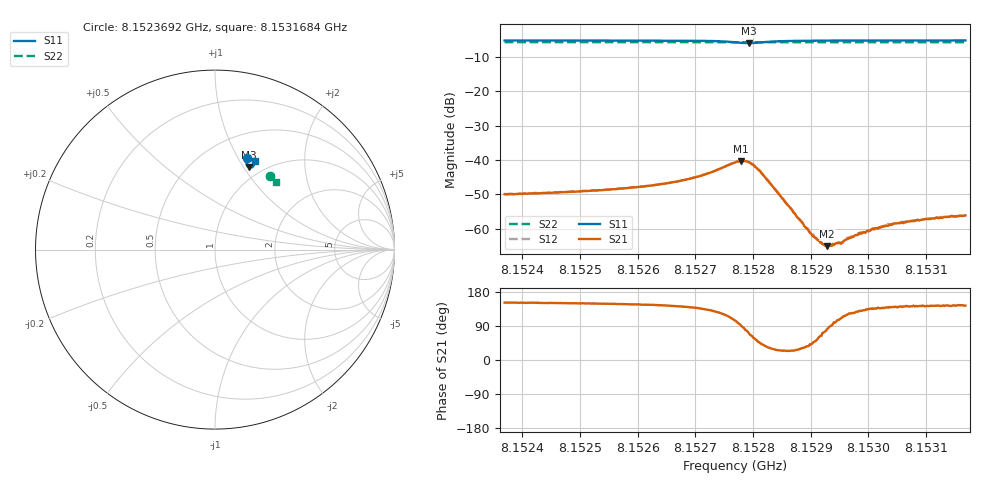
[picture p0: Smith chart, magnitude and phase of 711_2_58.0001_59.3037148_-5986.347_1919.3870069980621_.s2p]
#  HZ  S  RI  R  50.00
! Rohde & Schwarz Vector Network Analyzer
! Rohde-Schwarz,ZNB20-2Port,1311601062101988,3.16
! Created: UTC 3/21/2024, 1:22:11 AM
! freq[Hz]  re:S11  im:S11  re:S21  im:S21  re:S12  im:S12  re:S22  im:S22
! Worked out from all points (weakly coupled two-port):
!   401 points, 8.1523692 GHz to 8.1531684 GHz, reference 50 ohm
!   highest |S21| = -40.25 dB at 8.1527788 GHz (marker M1); lowest = -65.0 dB at 8.1529287 GHz (marker M2)
!   lowest |S11| = -6.1 dB at 8.1527928 GHz (marker M3), VSWR 2.96, Z = 43.3 + j52.6 ohm
!   |S11| at or under -10 dB: nowhere
!   |S22| runs from -5.9 to -5.8 dB; largest |S21 - S12| = 0.00022
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8.15236917e9  0.1808 0.5093  -0.00281 0.00152  -0.00282 0.00157  0.3041 0.411
8.15250305e9  0.1912 0.5054  -0.00303 0.00178  -0.00304 0.00185  0.3109 0.4057
8.15257698e9  0.1978 0.5027  -0.00326 0.00209  -0.00328 0.00213  0.3145 0.4027
8.15263693e9  0.2037 0.4994  -0.00359 0.00258  -0.00358 0.00262  0.3175 0.4002
8.15268288e9  0.2094 0.495  -0.00399 0.0033  -0.00394 0.00334  0.3199 0.3981
8.15270686e9  0.2127 0.4912  -0.00421 0.00401  -0.00418 0.00412  0.321 0.397
8.1527688e9  0.2121 0.4634  -0.00222 0.00891  -0.00221 0.00902  0.3235 0.3937
8.15277879e9  0.2037 0.4576  -0.000259 0.00972  -0.000219 0.00972  0.3235 0.3932
8.15279278e9  0.1871 0.4585  0.00298 0.00878  0.00316 0.00882  0.3236 0.3929
8.15280477e9  0.1776 0.4685  0.00464 0.00635  0.00479 0.00642  0.3239 0.393
8.15281876e9  0.1761 0.4813  0.00461 0.0037  0.00474 0.0037  0.3248 0.3929
8.15290268e9  0.1982 0.4987  0.000585 0.000558  0.000568 0.000559  0.3298 0.3897
8.15292066e9  0.2011 0.4988  0.000186 0.00057  0.000234 0.000562  0.3306 0.3891
8.15292866e9  0.2025 0.4985  8.16e-05 0.000557  0.000124 0.000554  0.331 0.3887
8.15293265e9  0.2031 0.4987  2.34e-05 0.000581  4.72e-05 0.000605  0.3313 0.3886
8.15295263e9  0.2056 0.4982  -0.000212 0.000573  -0.000233 0.000594  0.3322 0.3877
8.15296262e9  0.2068 0.498  -0.000349 0.000618  -0.000351 0.000647  0.3327 0.3872
8.1529846e9  0.2093 0.4974  -0.000563 0.000674  -0.000525 0.000673  0.3339 0.3861
8.15301058e9  0.2118 0.4967  -0.000707 0.000689  -0.00072 0.000724  0.335 0.3852
8.15303656e9  0.2142 0.4961  -0.000877 0.000736  -0.000867 0.000779  0.3363 0.384
8.15310449e9  0.2198 0.4942  -0.00109 0.000857  -0.00114 0.000854  0.3395 0.3811
8.15316843e9  0.2249 0.4922  -0.00127 0.000937  -0.00126 0.000919  0.3425 0.3782
